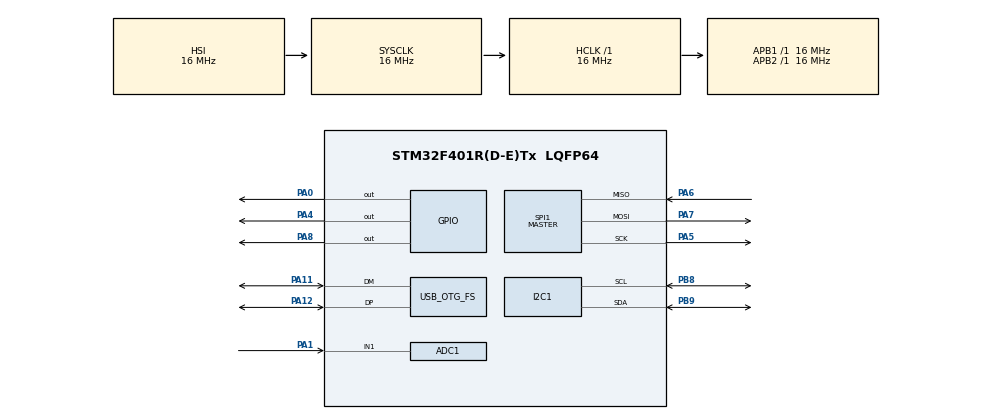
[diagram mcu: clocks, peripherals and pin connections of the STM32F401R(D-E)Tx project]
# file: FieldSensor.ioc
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ADC1.Channel-0\#ChannelRegularConversion=ADC_CHANNEL_1
ADC1.NbrOfConversionFlag=1
ADC1.Rank-0\#ChannelRegularConversion=1
ADC1.SamplingTime-0\#ChannelRegularConversion=ADC_SAMPLETIME_3CYCLES
ADC1.master=1
FATFS._FS_EXFAT=0
FATFS._MAX_SS=512
FATFS._USE_LFN=0
Mcu.Family=STM32F4
Mcu.Name=STM32F401R(D-E)Tx
Mcu.Package=LQFP64
NVIC.OTG_FS_IRQn=true\:0\:0\:false\:false\:true\:false\:true\:true
NVIC.PriorityGroup=NVIC_PRIORITYGROUP_4
PA0-WKUP.Signal=GPIO_Output
PA1.Signal=ADCx_IN1
PA11.Mode=Device_Only
PA11.Signal=USB_OTG_FS_DM
PA12.Mode=Device_Only
PA12.Signal=USB_OTG_FS_DP
PA13.Mode=Serial_Wire
PA13.Signal=SYS_JTMS-SWDIO
PA14.Mode=Serial_Wire
PA14.Signal=SYS_JTCK-SWCLK
PA4.Signal=GPIO_Output
PA5.Mode=Full_Duplex_Master
PA5.Signal=SPI1_SCK
PA6.Mode=Full_Duplex_Master
PA6.Signal=SPI1_MISO
PA7.Mode=Full_Duplex_Master
PA7.Signal=SPI1_MOSI
PA8.Signal=GPIO_Output
PB8.GPIO_Pu=GPIO_NOPULL
PB8.Mode=I2C
PB8.Signal=I2C1_SCL
PB9.Mode=I2C
PB9.Signal=I2C1_SDA
PC14-OSC32_IN.Mode=LSE-External-Oscillator
PC14-OSC32_IN.Signal=RCC_OSC32_IN
PC15-OSC32_OUT.Mode=LSE-External-Oscillator
PC15-OSC32_OUT.Signal=RCC_OSC32_OUT
ProjectManager.HeapSize=0x200
ProjectManager.StackSize=0x400
ProjectManager.TargetToolchain=STM32CubeIDE
RCC.48MHZClocksFreq_Value=48000000
RCC.AHBFreq_Value=16000000
RCC.APB1Freq_Value=16000000
RCC.APB1TimFreq_Value=16000000
RCC.APB2Freq_Value=16000000
RCC.APB2TimFreq_Value=16000000
RCC.CortexFreq_Value=16000000
RCC.HCLKFreq_Value=16000000
RCC.HSE_VALUE=25000000
RCC.HSI_VALUE=16000000
RCC.PLLSource=RCC_PLLSOURCE_HSI
RCC.RCC_RTC_Clock_Source=RCC_RTCCLKSOURCE_LSE
RCC.RCC_RTC_Clock_SourceVirtual=RCC_RTCCLKSOURCE_LSE
RCC.SYSCLKFreq_VALUE=16000000
RCC.VCOOutputFreq_Value=192000000
SH.ADCx_IN1.0=ADC1_IN1,IN1
SPI1.Direction=SPI_DIRECTION_2LINES
SPI1.Mode=SPI_MODE_MASTER
SPI1.VirtualType=VM_MASTER
USB_DEVICE.CLASS_NAME_FS=MSC
USB_DEVICE.VirtualMode-MSC_FS=Msc
USB_DEVICE.VirtualModeFS=Msc_FS
USB_OTG_FS.VirtualMode=Device_Only
VP_FATFS_VS_Generic.Mode=User_defined
VP_RTC_VS_RTC_Activate.Mode=RTC_Enabled
VP_RTC_VS_RTC_Calendar.Mode=RTC_Calendar
VP_USB_DEVICE_VS_USB_DEVICE_MSC_FS.Mode=MSC_FS
board=custom

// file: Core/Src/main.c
/* USER CODE BEGIN Header */
/**
  ******************************************************************************
  * @file           : main.c
  * @brief          : Main program body
  ******************************************************************************
  * @attention
  *
  * Copyright (c) 2026 STMicroelectronics.
  * All rights reserved.
  *
  * This software is licensed under terms that can be found in the LICENSE file
  * in the root directory of this software component.
  * If no LICENSE file comes with this software, it is provided AS-IS.
  *
  ******************************************************************************
  */
/* USER CODE END Header */
#include "main.h"
#include "adc.h"
#include "fatfs.h"
#include "i2c.h"
#include "rtc.h"
#include "spi.h"
#include "usb_device.h"
#include "gpio.h"

/* USER CODE BEGIN Includes */
#include <math.h>
#include "aht20.h"
#include "spiflash.h"
#include "storage_policy.h"
#include "log_ring.h"
#include "vfat.h"
#include "time_service.h"
#include "soil_sensor.h"
#include "soil_curve.h"
#include "battery.h"
#include "ds18b20.h"
#include "power_policy.h"
#include "sensor_policy.h"
#include "bmp280.h"
#include "usbd_core.h"
#include "usbd_def.h"
#include <stdio.h>
#include <string.h>
/* USER CODE END Includes */

/* USER CODE BEGIN PTD */
extern USBD_HandleTypeDef hUsbDeviceFS;
/* USER CODE END PTD */

/* USER CODE BEGIN PD */

/* Время на стабилизацию питания датчиков (AHT20/DS18B20/почва) после включения PA0. */
#define SENSOR_POWERUP_DELAY_MS   500U

/* Восстановление шины I2C (B6), колонка i2c_rec: 0 — шина свободна, 1 —
 * освобождена тактами SCL, 2 — понадобилось снять питание датчиков, 3 —
 * не освободилась и после этого. Пауза без питания — разрядить ёмкость
 * модуля, чтобы его логика действительно сбросилась. */
#define I2C_REC_POWER        2U
#define I2C_REC_DEAD         3U
#define I2C_POWER_CYCLE_MS   200U

/* Карантин питания датчиков: сколько часов не подавать питание после трёх
 * отказов подряд (Policy_QuarantineUpdate). В циклах — по текущему
 * интервалу, но не меньше одного. Колонка sens_off: 0 — датчики запитаны,
 * N > 0 — карантин, осталось N циклов; коды датчиков в такой строке — «не
 * опрашивались»: aht_*_st = 1 (HAL_ERROR), ds_err = DS_ERR_NOT_POLLED. */
#define SENSOR_QUARANTINE_HOURS   6U
#define SENSOR_QUARANTINE_CYCLES  ((SENSOR_QUARANTINE_HOURS * 3600U / RTC_WAKEUP_INTERVAL_SEC) ? \
                                   (SENSOR_QUARANTINE_HOURS * 3600U / RTC_WAKEUP_INTERVAL_SEC) : 1U)
#define DS_ERR_NOT_POLLED         8U

/* Пока кнопка удерживается, МК не уходит в STOP — так USB-сессия не рвётся на время сна.
 * BTN_HOLD_MAX_MS — страховка на случай залипшей/залитой кнопки в поле: по истечении
 * этого времени засыпаем принудительно и больше не ждём кнопку, пока её не отпустят
 * (счёт идёт через все циклы, см. Policy_ButtonKeepsAwake). */
#define BTN_HOLD_POLL_MS   100U
#define BTN_HOLD_MAX_MS    300000U   /* 5 минут */

/* USB_ENUM_MAX_MS, USB_SESSION_IDLE_MAX_MS и USB_SESSION_MAX_SKIPS — в
 * power_policy.h, рядом с правилом, которое их применяет, и под хостовыми
 * тестами: иначе смена величины потолка тестами не замечается. */

/* Шаг пинка сторожа во сне (A4): меньше худшего периода IWDG (~22 с при LSI
 * 47 кГц) с запасом. 3600 и 60 делятся на 15 нацело. Цена — пробуждение на
 * ~0.1–0.3 мс раз в 15 с, доли микроампера среднего (расчёт — в отчёте П4). */
#define WDG_KICK_SEC       15U

/* Замеры, записанные во время USB-сессии (A3): флеш в это время отдаётся
 * хосту, и журнал её не трогает — записи ждут в RAM конца сессии. Сессия
 * может длиться сутки: 48 записей — двое суток часовых замеров, 3 КБ RAM
 * (буфер work[4096] прежнего FatFs-пути освобождён). */
#define LOG_PENDING_MAX   48U

/* Набор колонок CSV — LOG_CSV_HEADER в log_record.h, строка — его же
 * LogRecord_FormatCsv: архив теперь — двоичный журнал (log_ring.h), а CSV
 * из него собирается при чтении.
 * Сначала то, ради чего прибор существует, затем состояние питания, затем
 * признаки достоверности, диагностика и в конце сырые отсчёты. Отладочные
 * колонки времени цикла и внутренних кодов AHT20 сняты: они своё отработали.
 * Оставшиеся нужны и в поле: по ним видно, ПОЧЕМУ значение отсутствует или
 * чему не верить, вместо того чтобы гадать над пустой ячейкой.
 *   vdd           — реальное VDD по VREFINT, В (известно и при банке вне шкалы);
 *   soil_valid    — 0, если банка просела ниже дропаута LDO и опора АЦП уплыла;
 *   lse_ok        — 0, если часовой кварц не завёлся и RTC идёт от LSI (A5);
 *   time_ok       — 0, если календарь терялся и часы откатились на время
 *                   сборки (A6): меткам таких строк верить нельзя;
 *   aht_*, ds_err — почему не прочитались воздух и почва (ds_err 8 — датчики
 *                   не опрашивались: карантин питания);
 *   air_xchk      — сверка AHT20 с BMP280: 0 сошлись, 1 разошлись > 2 °C,
 *                   2 BMP280 не ответил, 3 сверять нечего (sensor_policy.h);
 *   i2c_rec       — шину I2C пришлось освобождать (B6): 1 тактами, 2 снятием
 *                   питания, 3 не освободилась;
 *   sens_off      — карантин питания датчиков: сколько циклов ещё без питания;
 *   write_fails   — сколько раз за всю жизнь запись строки не удалась:
 *                   отказ флеш или переполнение очереди. При отказе флеш
 *                   строка ждёт в очереди следующего цикла (T6) и обычно
 *                   потом ложится — счётчик считает попытки, а не потери;
 *                   пропадает она при переполнении очереди и при отказе с
 *                   непрочитанной сверкой (повтор дал бы дубль). Заполнения архива больше нет: журнал
 *                   кольцевой, и старейшие записи уходят сами (G1);
 *   lowpower_skips — сколько строк пропущено из-за низкого питания (П1, C3);
 *   reset_cause   — почему стартовали: биты флагов сброса и код сбоя
 *                   (Policy_ResetCause);
 *   boot_count    — стартов с последней подачи питания: рост без замены
 *                   банки — тихие перезагрузки;
 *   soil_raw, bat_raw — отсчёты АЦП почвы и делителя банки (0..4095): по ним
 *                   и vdd значения можно пересчитать заново, если уплывёт
 *                   калибровка. */
#define CSV_HEADER LOG_CSV_HEADER

/* Опора и канал АЦП — как в soil_sensor.c и battery.c: оттуда отсчёты наружу
 * не отдаются, а модули не наши. Почва — тот же отсчёт, обращённый из
 * напряжения; банка — отдельная выборка того же канала сразу после замера. */
#define SOIL_ADC_VREF       3.3f
#define BAT_RAW_CHANNEL     ADC_CHANNEL_2
#define BAT_RAW_SAMPLETIME  ADC_SAMPLETIME_84CYCLES

/* USER CODE END PD */

/* USER CODE BEGIN PV */
static uint8_t lse_ok = 0;   /* запустился ли LSE-кварц (иначе метки времени врут) */
static uint8_t time_ok = 0;  /* можно ли верить часам (A6, Policy_TimeTrusted) */
static volatile uint8_t woke_by_button = 0;  /* выставляется в EXTI-колбэке кнопки */
/* Открыт ли журнал. Имя прежнее (было «смонтирована ФС»): его знает дампер. */
static uint8_t fs_ok = 0;
static uint32_t write_fails = 0;  /* накопленное число неудачных записей строки */
static Policy_Button btn_policy;  /* удержание KEY через все циклы сна (A1) */
static uint16_t reset_cause = 0;  /* почему стартовали — Policy_ResetCause */
static uint32_t boot_count  = 0;  /* стартов с последней подачи питания */
static uint8_t  i2c_rec     = 0;  /* как освобождали шину в этом цикле (B6) */
static Policy_Quarantine sens_quarantine;  /* карантин питания датчиков */
static Policy_Usb    usb_policy;  /* VBUS без хоста через все циклы сна (A9) */
/* Расписание замеров: время с прошлого ЗАМЕРА, через все циклы сна и
 * бодрствования. Жить оно обязано здесь, а не в функции сна: остаток,
 * заведённый локально, выбрасывался при каждом досрочном пробуждении, и
 * следующий сон начинался с полного интервала (см. Policy_Schedule).
 * meas_sched_tick — отметка HAL_GetTick, по которой в расписание идёт время
 * БОДРСТВОВАНИЯ (сон тик не двигает, отспанное зачитывается куском). Она
 * тоже статическая: между выходом из сна и следующим входом лежит сам замер,
 * и это время такое же настоящее, как остальное. */
static Policy_Schedule meas_sched;
static uint32_t        meas_sched_tick = 0;
static volatile uint8_t woke_by_vbus = 0;    /* фронт VBUS: вставили кабель */
static LogRing      log_ring;      /* журнал замеров на флеш (log_ring.h) */
static LogOldVolume log_old;       /* разбор старого тома для импорта — только при старте */
static LogRecord    log_pending[LOG_PENDING_MAX];   /* очередь USB-сессии (A3) */
static uint8_t      log_pending_n = 0;
extern VFat         usb_vfat;      /* том для хоста (usbd_storage_if.c, vfat.h) */
/* Секторы, отданные хосту (usbd_storage_if.c): по ним Policy_UsbKeepsAwake
 * отличает живую сессию от брошенной пропавшим хостом. */
extern volatile uint32_t usb_host_blocks;
/* USER CODE END PV */

void SystemClock_Config(void);

/* USER CODE BEGIN 0 */

/* Замер состоялся — расписание с нуля, и отметка тика вместе с ним: иначе
 * время самого замера (пауза на выход датчиков, конверсия DS18B20,
 * восстановление шины — секунды) не попало бы в интервал ни куском, ни
 * тиком, и расстояние между строками медленно уползало бы. */
static void Schedule_Restart(void)
{
  Policy_ScheduleMeasured(&meas_sched);
  meas_sched_tick = HAL_GetTick();
}

/* Один цикл сна: погасить периферию, уйти в STOP и подняться обратно.
 * Вынесено из main() отдельной функцией, чтобы первый замер после включения
 * можно было сделать не засыпая, не дублируя при этом весь блок. */
/* Сторожевой таймер (A4). Раньше IWDG запускался только из Error_Handler, а
 * HardFault и любое зависание в активной фазе крутились вечно на полной
 * частоте: прибор стоял на ~10 мА до приезда владельца. Теперь сторож
 * запущен с первой строки main() и кормится в основном цикле, в цикле
 * удержания и в коротких пробуждениях из сна (см. Policy_SleepChunkSec).
 * Период — наибольший: делитель 256, перезагрузка 0xFFF, ~32 с при LSI
 * 32 кГц и ~22 с при 47 кГц (верх допуска); пинок раз в WDG_KICK_SEC.
 * Регистры напрямую: модуль IWDG в HAL этой сборки не включён. Запущенный
 * сторож остановить нельзя — поэтому он замораживается на время остановки
 * ядра отладчиком, иначе каждая точка останова кончалась бы сбросом. */
static void Watchdog_Start(void)
{
  __HAL_DBGMCU_FREEZE_IWDG();

  IWDG->KR  = 0x0000CCCCU;   /* пуск */
  IWDG->KR  = 0x00005555U;   /* разрешить запись PR/RLR */
  IWDG->PR  = 0x06U;         /* делитель 256 */
  IWDG->RLR = 0x0FFFU;       /* максимальная перезагрузка */
  for (volatile uint32_t i = 0U; i < 100000U && (IWDG->SR != 0U); i++)
  {
  }
  IWDG->KR  = 0x0000AAAAU;
}

static void Watchdog_Kick(void)
{
  IWDG->KR = 0x0000AAAAU;
}

/* Журнал работает с флеш через драйвер, а в долгих местах (сканирование
 * при старте, стирание сектора — у SST26 до 25 мс, импорт старого тома)
 * пинает сторожа сам. Защиту блоков он снимает перед каждой записью (T2). */
static const LogFlashOps log_ops = {
  SPI_Flash_Read, SPI_Flash_Write, SPI_Flash_EraseSector, Watchdog_Kick, SPI_Flash_Unlock
};

/* Открыть журнал: найти голову и хвост, а на первом старте после старой
 * прошивки — перенести старый архив (импорт пишет, поэтому только при
 * may_write). Сорванное чтение — до трёх попыток с повторной инициализацией
 * флеш: одно искажённое чтение после просадки не должно решать судьбу
 * архива. Инициализация (выход из DPD, снятие защиты) — перед каждой
 * попыткой, включая первую: из цикла сюда попадают только после отказа, а
 * флеш могла пережить свой сброс по питанию и стоять запертой (T2).
 * Возвращает 1, если журнал открыт. */
static uint8_t Archive_Open(uint8_t may_write)
{
  uint8_t r = LOG_OPEN_EIO;
  for (uint8_t attempt = 0; attempt < 3U && r == LOG_OPEN_EIO; attempt++)
  {
      SPI_Flash_Init();
      r = LogArchive_Open(&log_ring, &log_ops, LOG_FLASH_SECTORS, may_write, &log_old);
      Watchdog_Kick();
  }
  return (r == LOG_OPEN_OK) ? 1U : 0U;
}

/* Метка последнего замера в архиве — для Policy_TimeTrusted (A6). Сразу
 * после импорта замеров в журнале ещё нет: тогда метка берётся из хвоста
 * перенесённого текста, как раньше из хвоста data.txt. Возвращает 1, если
 * архив прочитан (метки может и не быть), 0 — сбой чтения. */
static uint8_t Archive_LastTimestamp(char *out)
{
  LogRecord rec;
  uint32_t  idx;
  out[0] = '\0';
  uint8_t st = LogRing_Newest(&log_ring, &rec, &idx);
  if (st != LOG_READ_OK)
      return (st == LOG_READ_NONE) ? 1U : 0U;   /* сбой чтения — архив не прочитан */
  if (LogRecord_Type(&rec) == LOG_TYPE_IMPORT_END &&
      (idx == 0U || LogRing_Read(&log_ring, --idx, &rec) != LOG_READ_OK))
      return 1;
  if (LogRecord_Type(&rec) == LOG_TYPE_MEAS)
  {
      LogMeas m;
      LogRecord_UnpackMeas(&rec, &m);
      if (Storage_IsTimestamp(m.ts))
      {
          memcpy(out, m.ts, STORAGE_TS_LEN);
          out[STORAGE_TS_LEN] = '\0';
      }
      return 1;
  }
  /* Хвост текста: до четырёх последних записей TEXT (~200 байт) — хватает
   * на последнюю строку целиком. */
  char     tail[4U * LOG_TEXT_MAX];
  uint32_t n = 0;
  uint8_t  from_start = 0;
  for (uint32_t k = 0; k < 4U; k++)
  {
      const uint8_t *t;
      uint32_t len = LogRecord_Text(&rec, &t, NULL);
      if (len == 0U)
      {
          from_start = (LogRecord_Type(&rec) == LOG_TYPE_IMPORT_FILE);
          break;
      }
      memmove(tail + len, tail, n);
      memcpy(tail, t, len);
      n += len;
      if (idx == 0U || LogRing_Read(&log_ring, --idx, &rec) != LOG_READ_OK)
          break;
  }
  (void)Storage_LastTimestamp(tail, n, from_start, out);
  return 1;
}

/* Дописать запись в журнал. Отказ — write_fails и переоткрытие журнала в
 * следующем цикле: состояние в RAM могло разойтись с флеш. */
static uint8_t Archive_Append(LogRecord *rec)
{
  if (fs_ok && LogRing_Append(&log_ring, rec))
      return 1;
  write_fails++;
  fs_ok = 0;
  return 0;
}

/* USB поднимается только из цикла удержания, когда VBUS уже есть, и только
 * после записи цикла (A3). Раньше стек стартовал при каждом пробуждении ДО
 * замера и при старте ДО монтирования: хост, вставленный в этот момент,
 * получал «не готов» посреди записи, а длинное чтение — HARDWARE ERROR.
 * Теперь хост видит том, когда запись цикла уже закончена. */
static uint8_t usb_started = 0;

/* 48 МГц для OTG FS. USB FS требует точности ±0.25 %, а HSI даёт ±1 % при
 * 25 °C и хуже по температуре: в теплице от 5 до 40 °C перечисление и
 * копирование архива срывались бы (A10). На BlackPill есть кварц 25 МГц —
 * PLL на время USB-сессии берём от него: 25 / 25 × 192 / 4 = 48 МГц.
 * Ядро и шины остаются на HSI: PLL нужен только USB, и замерное окно его
 * не ждёт. Выход P (не используется) — тоже 48 МГц, в пределах 84 МГц.
 * HSE не завёлся — откат на HSI, как было раньше: хуже, но не мёртвый USB. */
static void Clock_UsbOn(void)
{
  RCC_OscInitTypeDef osc = {0};

  osc.OscillatorType = RCC_OSCILLATORTYPE_HSE;
  osc.HSEState = RCC_HSE_ON;
  osc.PLL.PLLState = RCC_PLL_ON;
  osc.PLL.PLLSource = RCC_PLLSOURCE_HSE;
  osc.PLL.PLLM = 25;
  osc.PLL.PLLN = 192;
  osc.PLL.PLLP = RCC_PLLP_DIV4;
  osc.PLL.PLLQ = 4;
  if (HAL_RCC_OscConfig(&osc) == HAL_OK)
      return;

  osc.HSEState = RCC_HSE_OFF;
  osc.PLL.PLLSource = RCC_PLLSOURCE_HSI;
  osc.PLL.PLLM = 16;
  (void)HAL_RCC_OscConfig(&osc);
}

/* STOP и так останавливает PLL и HSE, но цикл удержания может закончиться
 * и без сна — гасим явно, чтобы не держать их зря. */
static void Clock_UsbOff(void)
{
  RCC_OscInitTypeDef osc = {0};

  /* Сначала PLL, потом его источник: HAL в одном вызове гасит HSE раньше
   * PLL, и тот на миг остался бы без опоры. */
  osc.OscillatorType = RCC_OSCILLATORTYPE_NONE;
  osc.PLL.PLLState = RCC_PLL_OFF;
  (void)HAL_RCC_OscConfig(&osc);

  osc.OscillatorType = RCC_OSCILLATORTYPE_HSE;
  osc.HSEState = RCC_HSE_OFF;
  osc.PLL.PLLState = RCC_PLL_NONE;
  (void)HAL_RCC_OscConfig(&osc);
}

static void Usb_Start(void)
{
  /* Том для хоста собирается из журнала до подъёма стека (П5б): хост
   * увидит диск, только когда размеры файлов и индекс готовы, и до конца
   * сессии они верны — журнал в это время не пишется (A3). Проход журнала
   * — до ~20 с на полном журнале (32 тыс. записей; расчёт — в отчёте П5б),
   * сторож пинается изнутри. Журнал не открыт (сбой при старте, импорт
   * ждёт питания) — пробуем открыть только чтением: том без data.txt с
   * причиной в info.txt лучше, чем без попытки. Пишет журнал по-прежнему
   * только цикл замера. */
  if (!fs_ok)
      fs_ok = Archive_Open(0);
  (void)VFat_Build(&usb_vfat, fs_ok ? &log_ring : NULL, "build " __DATE__ " " __TIME__);
  Watchdog_Kick();

  Clock_UsbOn();
  MX_USB_DEVICE_Init();
  usb_started = 1;
}

static void Usb_Stop(void)
{
  USBD_Stop(&hUsbDeviceFS);

  /* Погасить встроенный трансивер вручную: HAL_PCD_DeInit этого не делает,
   * бит PWRDWN остаётся взведённым, и аналоговая часть USB продолжает питаться
   * весь сон. Сделать это надо ДО деинициализации — она отключает тактирование
   * периферии, после чего регистр станет недоступен для записи. */
  USB_OTG_FS->GCCFG &= ~USB_OTG_GCCFG_PWRDWN;

  USBD_DeInit(&hUsbDeviceFS);
  Clock_UsbOff();
  usb_started = 0;
}

/* Возвращает 1, если плата уснула и проснулась, и 0, если сна не было:
 * плата держится на шине, а подошло время очередного замера (C8). Во втором
 * случае USB остаётся поднятым, флеш и шины — как были. */
static uint8_t SleepUntilNextSample(void)
{
  /* --- Не уходим в сон, пока удерживают кнопку или хост держит USB ---
   * Уход в STOP рвёт USB-сессию и портит файл на стороне хоста, поэтому оба
   * признака означают одно: устройство обязано остаться на шине. Кнопка —
   * ручной способ, USB — то же самое автоматически, без нажатий.
   * Датчики к этому моменту уже обесточены, лишнего тока не тратим.
   * Правила — в power_policy.c: потолок кнопки считается через все циклы
   * (btn_policy живёт вне этой функции), иначе залипшая KEY держала бы
   * плату по 5 минут каждый час; VBUS без хоста держит не дольше
   * USB_ENUM_MAX_MS — иначе USB-зарядка или влага на делителе не давали бы
   * спать вовсе; перечисленная сессия — не дольше USB_SESSION_IDLE_MAX_MS
   * молчания, иначе пропавший хост держал бы плату вечно (usb_policy тоже
   * живёт вне этой функции: цикл перезапускается каждый час, когда подошёл
   * замер, и счёт молчания не должен начинаться заново). Отсюда в правило
   * уходят только сырые признаки — уровни, состояние стека и счётчик
   * отданных секторов; решения не принимаются здесь ни одного. */
  uint32_t t_prev  = HAL_GetTick();
  uint8_t  vbus_edge = woke_by_vbus;
  woke_by_vbus = 0;
  while (1)
  {
      uint8_t btn_held    = (HAL_GPIO_ReadPin(WAKE_BTN_GPIO_Port, WAKE_BTN_Pin) == GPIO_PIN_RESET);
      uint8_t usb_present = (HAL_GPIO_ReadPin(VBUS_GPIO_Port, VBUS_Pin) == GPIO_PIN_SET);
      uint8_t usb_config  = usb_started && (hUsbDeviceFS.dev_state == USBD_STATE_CONFIGURED);

      uint32_t now = HAL_GetTick();
      uint8_t btn_awake = Policy_ButtonKeepsAwake(&btn_policy, btn_held, now - t_prev, BTN_HOLD_MAX_MS);
      uint8_t usb_awake = Policy_UsbKeepsAwake(&usb_policy, usb_present, usb_started,
                                               usb_config, vbus_edge, usb_host_blocks,
                                               now - t_prev,
                                               USB_ENUM_MAX_MS, USB_SESSION_IDLE_MAX_MS);
      t_prev = now;
      /* Бодрствование — такое же время с прошлого замера, как и сон: сессия
       * хоста, затянувшаяся на интервал, обязана кончиться замером. Отметка
       * своя, отдельно от t_prev: тот сбрасывается сборкой тома (её не
       * считают в ожидание перечисления хостом), а из времени с прошлого
       * замера настоящее время не выкинешь. Разность беззнаковая — переворот
       * тика через 49.7 суток даёт верное приращение сам собой. */
      Policy_ScheduleElapsed(&meas_sched, now - meas_sched_tick);
      meas_sched_tick = now;
      vbus_edge = woke_by_vbus;   /* фронт за время ожидания — новый шанс хосту */
      woke_by_vbus = 0;

      Watchdog_Kick();   /* сессия с хостом может длиться сутки */

      if (!btn_awake && !usb_awake)
          break;

      /* Поднимаем стек, только пока у хоста есть шанс: VBUS, признанный
       * зарядкой, USB не поднимает (Policy_UsbKeepsAwake вернул 0). */
      if (usb_awake && !usb_started)
      {
          Usb_Start();
          /* Сборка тома не в счёт ожидания перечисления (USB_ENUM_MAX_MS):
           * хост и не видел устройства, пока она шла. */
          t_prev = HAL_GetTick();
      }

      if (Policy_MeasureDue(meas_sched.elapsed_ms, RTC_WAKEUP_INTERVAL_SEC * 1000UL))
      {
          /* Замер важнее сессии (Р1). Пропустить его вокруг сессии можно, но
           * считаное число раз: пропуск не кладёт строку ни на флеш, ни в
           * очередь, и хост, трогающий том чаще потолка бездействия, иначе
           * повторил бы исходный симптом «часы идут, архива нет». Исчерпав
           * право на пропуск, сессия гаснет здесь же, и замер уходит на флеш
           * сразу — не через интервал. Правило и счёт — в
           * Policy_SessionYieldsToMeasure.
           * Признак сессии здесь — usb_started, ровно тот же, по которому
           * ниже запись уходит в очередь в ОЗУ вместо флеш, и НЕ usb_config:
           * в SUSPENDED стек поднят, а CONFIGURED снят, и по usb_config
           * уступка не срабатывала бы никогда (см. power_policy.h). */
          if (Policy_SessionYieldsToMeasure(&usb_policy, usb_started, USB_SESSION_MAX_SKIPS))
              Usb_Stop();
          return 0;
      }

      /* Ждём во сне ядра (WFI), а не в занятом цикле HAL_Delay: SysTick будит
       * каждую миллисекунду, а между тиками ядро не жжёт ток впустую. */
      while (HAL_GetTick() - now < BTN_HOLD_POLL_MS)
          __WFI();
  }

  /* Гасим USB-стек, если он поднимался, — ПЕРВЫМ делом, до усыпления флеш.
   * Досюда мы доходим, когда у хоста больше нет права держать плату: он не
   * перечислился или исчерпал потолок молчания (USB_SESSION_IDLE_MAX_MS). В
   * последнем случае CONFIGURED может быть ещё взведено, и гасим мы живое с
   * виду состояние — иначе выход из цикла удержания закрыт навсегда. Полный
   * DeInit здесь обязателен именно поэтому: он снимает usb_started и
   * сбрасывает dev_state, так что следующий подъём стека начинается с чистого
   * состояния. Порядок важен: пока стек жив, хост вправе прислать READ10, а
   * усыплённая флеш отвечает на него USBD_FAIL, то есть хост получает STALL и
   * ошибку ввода-вывода вместо чистого отключения. Сначала уходим с шины,
   * потом гасим носитель. Аналоговая часть трансивера OTG FS питается от VDD
   * и продолжает потреблять в STOP, даже когда тактирование снято. */
  if (usb_started)
      Usb_Stop();

  /* Флеш — на постоянном питании, гасить её нечем, кроме Deep Power-Down.
   * Делаем это только сейчас: пока шла USB-сессия, хост мог читать диск,
   * и усыплять флеш было нельзя. */
  SPI_Flash_DeepPowerDown();

  /* Гасим периферию шин. Порядок важен: SPI деинициализируем строго ПОСЛЕ
   * команды Deep Power-Down выше — иначе её нечем было бы отправить. */
  HAL_SPI_DeInit(&hspi1);
  HAL_I2C_DeInit(&hi2c1);

  /* Парковка выводов — строго ПОСЛЕ всех деинициализаций. Каждая из них внутри
   * себя дёргает HAL_GPIO_DeInit и возвращает свои выводы в плавающий вход,
   * так что любая парковка, сделанная раньше, была бы просто затёрта. */
  MX_GPIO_SleepPrepare();

  /* Отключаем трассировочный блок ядра. С поднятым TRCENA отладочная логика
   * остаётся под питанием и во сне — это сотни микроампер на ровном месте.
   * DWT нужен только для микросекундных задержек 1-Wire в активной фазе. */
  DWT->CTRL &= ~DWT_CTRL_CYCCNTENA_Msk;
  CoreDebug->DEMCR &= ~CoreDebug_DEMCR_TRCENA_Msk;

  woke_by_button = 0;   /* сбрасываем перед сном: интересен источник ЭТОГО пробуждения */
  woke_by_vbus   = 0;
  (void)RTC_TakeWakeup();

  /* Залипшую кнопку на время сна отключаем от подтяжки и EXTI (A1): через
   * замкнутый контакт иначе тёк бы ток весь час, а её «нажатие» больше
   * ничего не значит. Будит только RTC; отпущена ли она — проверим после. */
  uint8_t btn_parked = btn_policy.stuck;
  if (btn_parked)
      MX_GPIO_ButtonPark();

  /* Отладочный блок не должен переживать STOP. Программатор при подключении
   * выставляет DBG_STOP, чтобы можно было ставить точки останова в спящем МК,
   * и этот бит держит отладочную логику и тактирование живыми весь сон —
   * сотни микроампер. Сам по себе он сбрасывается только по сбросу питания,
   * поэтому после отладки прибор может месяцами жить с включённой отладкой
   * и никто не заметит. Гасим явно на каждом цикле. */
  HAL_DBGMCU_DisableDBGStopMode();

  /* Обесточить внутреннюю флеш-память на время STOP. Иначе её стабилизатор
   * остаётся под нагрузкой всю ночь ради содержимого, которое всё равно не
   * читается: ядро стоит. Платим за это лишними микросекундами на пробуждение —
   * флеш надо снова поднять, — что на фоне часового интервала незаметно. */
  HAL_PWREx_EnableFlashPowerDown();

  /* И LP-регулятор — в режим пониженного напряжения (LPLVDS, есть у F401):
   * в STOP ядро стоит, и полного напряжения ядру не нужно; утечки домена
   * 1.2 В падают. Режим допустим только вместе с FPDS выше. Цена — лишние
   * десятки микросекунд на пробуждение, то есть доли микроампера среднего
   * даже при пинках сторожа раз в 15 с. Выигрыш на этой плате не замерен —
   * шаг для владельца в отчёте П4 (A12). */
  HAL_PWREx_EnableLowRegulatorLowVoltage();

  /* --- уход в сон: STOP mode, будит RTC Wakeup Timer, кнопка или VBUS ---
   * Спим не интервал, а ОСТАТОК интервала до следующего замера
   * (Policy_ScheduleSleepSec): досрочное пробуждение не должно сдвигать
   * замер, иначе каждый фронт VBUS молча стоит полного часа наблюдений.
   * Остаток режется на куски по WDG_KICK_SEC (A4): сторож в STOP не замирает
   * и часа не переживёт. Между кусками — короткое пробуждение на HSI: пинок
   * сторожу и сразу обратно, без замера и без периферии.
   *
   * armed остаётся ЛОКАЛЬНЫМ, в отличие от остатка: перед выходом из сна
   * таймер деактивируется, так что первый кусок каждого сна обязан взвести
   * его заново. Статический armed решил бы, что таймер уже взведён на такой
   * же кусок, и плата ушла бы в STOP без будильника — до сторожа. */
  uint32_t left  = Policy_ScheduleSleepSec(&meas_sched, RTC_WAKEUP_INTERVAL_SEC * 1000UL);
  uint32_t armed = 0;
  while (left > 0U)
  {
      uint32_t chunk = Policy_SleepChunkSec(left, WDG_KICK_SEC);
      if (chunk != armed)
      {
          /* Перевзвод ждёт флага RTC с таймаутом по тику — тик на это время
           * возвращаем, иначе таймаут не сработал бы никогда (см. ниже).
           * Счётчик CK_SPRE даёт (WUT + 1) с, отсюда «- 1». */
          HAL_ResumeTick();
          (void)HAL_RTCEx_DeactivateWakeUpTimer(&hrtc);
          if (HAL_RTCEx_SetWakeUpTimer_IT(&hrtc, chunk - 1U, RTC_WAKEUPCLOCK_CK_SPRE_16BITS) != HAL_OK)
          {
              /* Таймер не взвёлся — RTC не тактируется: кварц встал после
               * старта (S1). Ловится это здесь не всегда: флаг WUTWF от
               * прошлого взвода может остаться поднятым, и HAL вернёт HAL_OK
               * без такта RTC. Тогда плату через ~22–32 с сбросит сторож, а
               * главная защита — проверка SSR при старте (rtc.c). Если же
               * отказ виден — спать вслепую незачем. Откатываться на LSI прямо здесь
               * тоже нельзя: сброс backup-домена унёс бы календарь, а
               * time_ok в памяти осталась бы 1. Перезапуск с кодом в DR1:
               * старт проверит, идёт ли RTC, перейдёт на LSI (lse_ok = 0),
               * а time_service увидит потерю часов. */
              RTC->BKP1R = POLICY_FAULT_MAGIC | POLICY_FAULT_ERROR;
              NVIC_SystemReset();
          }
          armed = chunk;
      }

      Watchdog_Kick();
      HAL_SuspendTick();
      HAL_PWR_EnterSTOPMode(PWR_LOWPOWERREGULATOR_ON, PWR_STOPENTRY_WFI);

      /* Кнопка и VBUS — это человек: просыпаемся на замер сразу. Начатый
       * кусок при этом в расписание не идёт (ниже его зачитывает только
       * отработавший таймер): измерить его нечем — тик во сне остановлен, а
       * RTC здесь не опрашивается. Замер уезжает на долю недоспанного куска,
       * то есть не больше чем на WDG_KICK_SEC, и только на то пробуждение,
       * которое кончилось без замера. */
      if (woke_by_button || woke_by_vbus)
          break;

      /* Не таймер и не человек — случайное прерывание; кусок не отработан,
       * спим дальше, таймер продолжает считать с того же места. */
      if (!RTC_TakeWakeup())
          continue;
      left -= chunk;
      /* Кусок отработан — зачесть его в расписание СРАЗУ, а не по выходу из
       * цикла: досрочный выход ниже иначе выбросил бы всё отспанное, и
       * следующий сон начался бы с полного интервала. В этом и был дефект. */
      Policy_ScheduleElapsed(&meas_sched, chunk * 1000U);

      /* Залипшую кнопку могли отпустить. Проверка — доли микросекунды на
       * подтяжке; отпустили — оставляем EXTI включённым до конца сна. */
      if (btn_parked && left > 0U)
      {
          MX_GPIO_ButtonRestore();
          MX_GPIO_ButtonSettle();
          if (HAL_GPIO_ReadPin(WAKE_BTN_GPIO_Port, WAKE_BTN_Pin) == GPIO_PIN_SET)
          {
              (void)Policy_ButtonKeepsAwake(&btn_policy, 0, 0, BTN_HOLD_MAX_MS);
              btn_parked = 0;
          }
          else
          {
              MX_GPIO_ButtonPark();
          }
      }
  }
  Watchdog_Kick();

  /* --- пробуждение: ядро на HSI без PLL. Шины и задержки работают от того
   * же HSI 16 МГц, что и до сна (делители и латентность флеш STOP сохраняет),
   * так что SystemClock_Config здесь больше не нужна: PLL нужен только USB,
   * и его поднимает Usb_Start. Раньше она же на каждом пробуждении заново
   * запускала LSE, и один отказ кварца уводил в Error_Handler (A5). --- */
  /* Тик поднимаем ДО настройки тактирования, а не после. Все ожидания внутри
   * HAL_RCC_OscConfig/ClockConfig отмеряют свой таймаут по HAL_GetTick(), а он
   * растёт только в прерывании SysTick — том самом, которое HAL_SuspendTick()
   * выключил перед сном. Пока тик стоит, разность (HAL_GetTick() - tickstart)
   * всегда ноль, условие выхода по таймауту не выполняется НИКОГДА, и отказ
   * запуска генератора превращался бы не в HAL_TIMEOUT, а в вечный горячий
   * цикл прямо внутри драйвера. То же относится к Usb_Start, который
   * поднимает HSE и PLL. Частота та же, что была до сна (HSI 16 МГц), поэтому
   * перенастраивать SysTick не нужно: достаточно вернуть его прерывание. */
  HAL_ResumeTick();

  /* Таймер куска на время бодрствования не нужен: его прерывание с высшим
   * приоритетом каждые WDG_KICK_SEC вклинивалось бы в тайминги 1-Wire.
   * Сторожа в активной фазе кормит основной цикл. */
  HAL_RTCEx_DeactivateWakeUpTimer(&hrtc);

  /* В аналоге PA0 читается нулём, то есть «зажата», — вернуть подтяжку до
   * того, как цикл удержания спросит кнопку, иначе залипание не кончилось
   * бы никогда. */
  if (btn_parked)
  {
      MX_GPIO_ButtonRestore();
      MX_GPIO_ButtonSettle();
  }

  /* Возвращаем выводы 1-Wire из аналога и поднимаем SPI — обязательно до
   * любого обращения к флеш, иначе команду пробуждения будет некому послать. */
  MX_GPIO_SleepRestore();
  MX_SPI1_Init();

  /* Будим флеш до любого обращения к ней (в DPD она игнорирует все команды, кроме 0xAB). */
  SPI_Flash_ReleasePowerDown();

  /* Возвращаем трассировочный блок: без него не работают задержки 1-Wire. */
  CoreDebug->DEMCR |= CoreDebug_DEMCR_TRCENA_Msk;
  DWT->CYCCNT = 0;
  DWT->CTRL |= DWT_CTRL_CYCCNTENA_Msk;

  /* USB здесь не поднимаем: его стартует цикл удержания после записи, если
   * есть VBUS (A3). Кабель, вставленный во время замера, просто подождёт
   * до конца записи — EXTI по VBUS к тому времени уже разбудил плату. */
  return 1;
}

/* USER CODE END 0 */

int main(void)
{

  /* MCU Configuration--------------------------------------------------------*/

  /* Reset of all peripherals, Initializes the Flash interface and the Systick. */
  HAL_Init();

  /* USER CODE BEGIN Init */
    Watchdog_Start();   /* до всего остального: зависнуть может уже старт */
    CoreDebug->DEMCR |= CoreDebug_DEMCR_TRCENA_Msk; // разрешить трассировочный блок ядра
    DWT->CYCCNT = 0;                                 // сбросить счётчик тактов
    DWT->CTRL |= DWT_CTRL_CYCCNTENA_Msk;             // запустить счётчик тактов
  /* USER CODE END Init */

  /* Configure the system clock */
  SystemClock_Config();

  /* USER CODE BEGIN SysInit */
  /* Причина сброса и код сбоя — до MX_RTC_Init: смена источника тактирования
   * RTC (A5) сбрасывает backup-домен, и код из DR1 пропал бы. */
  reset_cause = Policy_ResetCause(RCC->CSR, RTC->BKP1R);
  /* USER CODE END SysInit */

  /* Initialize all configured peripherals */
  MX_GPIO_Init();
  MX_FATFS_Init();
  /* MX_USB_DEVICE_Init() отсюда убран (A3): USB стартует цикл удержания после
   * первой записи. В FieldSensor.ioc для него стоит выставить «Do not
   * generate function call», иначе CubeMX вернёт вызов при перегенерации. */
  MX_I2C1_Init();
  MX_SPI1_Init();
  MX_RTC_Init();
  // LSE НЕ запустился → RTC идёт от LSI → метки времени уплывают. Плата при
  // этом живёт и пишет (A5), а флаг уходит в каждую строку CSV.
  lse_ok = RTC_LseOk();
  MX_ADC1_Init();
  /* USER CODE BEGIN 2 */

  /* Кнопочного жеста «стереть архив» больше нет (A2/C4). Он срабатывал от
   * зажатой KEY при любом сбросе, кроме программного: при замене банки,
   * просадке, перезапуске сторожем — а залитая водой кнопка «зажата» всегда.
   * Архив вручную не стирается вообще: это кольцевой журнал (П5), старые
   * записи вытесняются сами, а том USB только для чтения. Начать архив с
   * нуля владелец может read_data.sh --wipe. KEY при старте ничего не значит. */
  __HAL_RCC_CLEAR_RESET_FLAGS();

  /* Счётчик стартов с последней подачи питания (DR2) и сброс кода сбоя (DR1),
   * чтобы следующий старт не унаследовал чужую причину. Backup-домен сидит
   * на VDD (VBAT не отдельный), так что подача питания обнуляет и счётчик —
   * это и нужно: он считает именно тихие перезагрузки. */
  HAL_PWR_EnableBkUpAccess();
  boot_count = HAL_RTCEx_BKUPRead(&hrtc, RTC_BKP_DR2) + 1U;
  HAL_RTCEx_BKUPWrite(&hrtc, RTC_BKP_DR2, boot_count);
  HAL_RTCEx_BKUPWrite(&hrtc, RTC_BKP_DR1, 0U);
  Watchdog_Kick();   /* запуск LSE в MX_RTC_Init мог занять до 10 с */

  // Включаем питание датчиков (LOW)
  HAL_GPIO_WritePin(SENSOR_PWR_GPIO_Port, SENSOR_PWR_Pin, GPIO_PIN_RESET);

  // === 0) Часы ===
  // Календарь живёт в backup-домене и переживает сброс, поэтому проверки
  // "не инициализирован" мало: после обычного ресета время идёт дальше, а вот
  // новая прошивка должна переставить его на своё время сборки.
  uint8_t time_sync = Time_SyncToBuildIfNeeded();

  /* Флеш занята основным потоком с этого места и до конца первой записи
   * в цикле (первый проход идёт без сна, так что это пара секунд, а при
   * импорте старого архива — до минуты). USB до этого не поднимается вовсе
   * (A3); флаг — вторая линия обороны на случай, если порядок когда-нибудь
   * снова поменяют. Флаг снимает блок записи. */
  SPI_Flash_SetBusy(1);

  // 1) Инициализация SPI флеш
  SPI_Flash_Init();

  /* 2) Журнал. Файловой системы на флеш больше нет: архив — кольцевой
   *    журнал (log_ring.h), он не форматируется и не заполняется. На первом
   *    старте после прошивки с FAT-томом старый архив (data.txt, data_N.txt)
   *    переносится в журнал как есть — это запись, поэтому только при
   *    достаточном питании (то же правило, что для замеров). Без питания
   *    импорт ждёт: журнал не открыт, цикл пробует снова каждый раз. */
  Battery_Data bat_boot;
  Battery_Read(&bat_boot);
  uint8_t boot_power_ok = Storage_MayWrite(bat_boot.valid, bat_boot.low, bat_boot.vdd);
  fs_ok = Archive_Open(boot_power_ok);

  /* Можно ли верить часам (A6). Календарь живёт в backup-домене, а тот на
   * этой плате сидит на VDD: замена банки возвращает часы на время сборки.
   * Отличить это от свежей прошивки помогает только архив — правило в
   * Policy_TimeTrusted; итог — в time_ok каждой строки и в DR3 до следующего
   * сброса. Пустой журнал прочитан — противоречить нечему. */
  {
      char last_ts[STORAGE_TS_LEN + 1] = "";
      char build_ts[STORAGE_TS_LEN + 1];
      uint8_t archive_read = fs_ok && Archive_LastTimestamp(last_ts);
      Time_BuildTimestamp(build_ts, sizeof(build_ts));
      time_ok = Policy_TimeTrusted(time_sync, Time_GetTrusted(), archive_read, last_ts, build_ts);
      Time_SetTrusted(time_ok);
  }

  /* Датчики поднимает и гасит сам цикл, здесь они не нужны. Явно обесточиваем
   * их перед первым сном: MX_GPIO_Init() оставляет питание включённым, и без
   * этой строки первый интервал сна (в поле — целый час) проходил бы с
   * запитанными AHT20, DS18B20 и датчиком почвы. */
  HAL_GPIO_WritePin(SENSOR_PWR_GPIO_Port, SENSOR_PWR_Pin, GPIO_PIN_SET);

  /* USER CODE END 2 */

  /* Infinite loop */
  /* USER CODE BEGIN WHILE */
  /* Первый проход замеряет сразу, без сна. Иначе после включения архив
   * оставался бы пустым весь первый интервал — в поле это час, в течение
   * которого исправный прибор неотличим от мёртвого. Одна строка при
   * установке стоит копейки и сразу подтверждает, что прибор жив. */
  uint8_t first_pass = 1;
  /* Расписание начинается здесь, а не с нуля тика: до первого замера плата
   * успевает смонтировать и, может быть, импортировать старый архив — это
   * секунды, и приписывать их интервалу незачем. Первый проход меряет сразу,
   * не засыпая, и тут же перезапустит расписание своим замером; затравка
   * нужна для случая, когда он кончится пропуском (вставленный кабель). */
  Schedule_Restart();

  while (1)
  {
	  if (!first_pass)
	      SleepUntilNextSample();
	  first_pass = 0;
	  Watchdog_Kick();

	  /* Вокруг USB-сессии не меряем (Policy_SkipMeasureForUsb): к телефону
	   * прибор подключают вынутым из земли. Разбудила вставка кабеля —
	   * woke_by_vbus не сбрасываем, его заберёт цикл удержания и поднимет USB;
	   * хост держит сессию и подошёл час — просто ждём дальше на шине. Там же
	   * считаются интервалы подряд, кончившиеся без записи, и там же стоит
	   * потолок на пропуски — по этому счёту цикл удержания гасит
	   * затянувшуюся сессию (Р1). Признак сессии — usb_started, тот же, что
	   * решает судьбу записи ниже: по dev_state == CONFIGURED пропуск
	   * «засчитывался» в SUSPENDED как состоявшийся замер, а строка при этом
	   * уходила в ОЗУ. */
	  if (Policy_SkipMeasureForUsb(&usb_policy, woke_by_vbus, woke_by_button,
	                               usb_started, USB_SESSION_MAX_SKIPS))
	      continue;

	  /* Замер начинается — расписание с нуля (Schedule_Restart). Здесь, а не
	   * после записи, чтобы время самого замера легло ВНУТРЬ интервала; и
	   * только после решения о пропуске: пропущенный интервал расписание не
	   * перезапускает, иначе пропуск выдавал бы себе полный час заново — тот
	   * самый дефект. */
	  Schedule_Restart();

	  /* Карантин питания датчиков (дизайн v2, ТЗ п. 16). Залитый разъём или
	   * пробитый датчик каждый час сажает ключ и LDO в ограничение тока и
	   * съедает бюджет за недели, а данных всё равно нет. Три цикла подряд без
	   * воздуха И без почвы — признак отказа рельсы, а не одного датчика;
	   * тогда питание не подаётся SENSOR_QUARANTINE_HOURS часов, а потом —
	   * одна попытка. Правило — Policy_QuarantineUpdate. Батарея и запись
	   * строки идут как обычно: архив показывает, что прибор жив. */
	  uint8_t  sens_powered = Policy_SensorsPowerAllowed(&sens_quarantine);
	  uint32_t sens_off = sens_powered ? 0U : sens_quarantine.skip_left;

	  AHT20_Data aht = { NAN, NAN };
	  HAL_StatusTypeDef aht_init_st = HAL_ERROR, aht_read_st = HAL_ERROR;
	  float   soil_temp = NAN, soil_hum = NAN, soil_raw = NAN;
	  uint8_t ds_err = DS_ERR_NOT_POLLED;
	  uint8_t air_xchk = SENSOR_XCHK_NO_AHT;
	  i2c_rec = 0;

	  if (sens_powered)
	  {
	      /* --- включаем датчики (LOW) --- */
	      HAL_GPIO_WritePin(SENSOR_PWR_GPIO_Port, SENSOR_PWR_Pin, GPIO_PIN_RESET);
	      /* Полная пауза на выход датчиков в режим, а не символические 50 мс.
	       * Константа SENSOR_POWERUP_DELAY_MS была заведена ровно под это, но в коде
	       * не использовалась, и AHT20 опрашивался слишком рано: адрес он
	       * подтверждает почти сразу, а на самокалибровку ему нужно заметно больше,
	       * и AHT20_Init не укладывался в свой бюджет попыток. За двое суток
	       * боевого прогона так потерялись две трети замеров воздуха.
	       * Цена паузы: 450 мс раз в час при токе активной фазы порядка 20 мА —
	       * это около 2.5 мкА среднего против бюджета в 377 мкА. */
	      HAL_Delay(SENSOR_POWERUP_DELAY_MS);

	      /* Датчик на шине I2C1 только что был полностью обесточен. Жёстко сбрасываем саму
	       * периферию I2C1 через RCC перед повторным использованием — иначе она может остаться
	       * в залипшем BUSY-состоянии после неудачной транзакции прошлого цикла и больше
	       * никогда не восстановиться сама (обычный DeInit/Init этого не гарантирует). */
	      HAL_I2C_DeInit(&hi2c1);
	      __HAL_RCC_I2C1_FORCE_RESET();
	      __HAL_RCC_I2C1_RELEASE_RESET();

	      /* Сброс периферии не отпускает ведомого, который держит SDA (B6), —
	       * шину освобождаем тактами SCL. Не помогло — ведомый завис глубже:
	       * снимаем питание датчиков ещё раз и повторяем, один раз. Выводы шины
	       * на это время — в вход, чтобы не питать модуль через подтяжки. */
	      i2c_rec = I2C1_BusRecover();
	      if (i2c_rec == I2C_BUS_STUCK)
	      {
	          HAL_GPIO_DeInit(GPIOB, GPIO_PIN_8 | GPIO_PIN_9);
	          HAL_GPIO_WritePin(SENSOR_PWR_GPIO_Port, SENSOR_PWR_Pin, GPIO_PIN_SET);
	          HAL_Delay(I2C_POWER_CYCLE_MS);
	          HAL_GPIO_WritePin(SENSOR_PWR_GPIO_Port, SENSOR_PWR_Pin, GPIO_PIN_RESET);
	          HAL_Delay(SENSOR_POWERUP_DELAY_MS);
	          i2c_rec = (I2C1_BusRecover() == I2C_BUS_STUCK) ? I2C_REC_DEAD : I2C_REC_POWER;
	      }
	      MX_I2C1_Init();

	      /* Ждём, пока AHT20 реально начнёт подтверждать свой адрес на шине, вместо
	       * слепой фиксированной паузы: время выхода на режим зависит от температуры
	       * и от того, насколько успел разрядиться его питающий конденсатор. */
	      for (uint16_t i = 0; i < 80; i++)   /* до ~2 секунд ожидания */
	      {
	          if (HAL_I2C_IsDeviceReady(&hi2c1, AHT20_ADDR, 1, 10) == HAL_OK)
	              break;
	          HAL_Delay(25);
	      }

	      /* AHT20 теряет калибровку при каждом отключении питания — обязательно
	       * заново инициализировать после каждого включения PA0, иначе показания мусорные. */
	      aht_init_st = AHT20_Init(&hi2c1);

	      /* Если датчик не откалибровался, читать его бессмысленно: транзакции
	       * пройдут успешно, а в кадре будут нули. Раньше чтение выполнялось
	       * независимо от исхода инициализации, и такой кадр однажды разобрался
	       * в -50.00 °C и ушёл в архив как настоящее измерение. */
	      aht_read_st = (aht_init_st == HAL_OK)
	                  ? AHT20_ReadData(&hi2c1, &aht)
	                  : HAL_ERROR;
	      if (aht_read_st != HAL_OK)
	      {
	          /* Не нули, а NAN. Ноль градусов в теплице — совершенно правдоподобное
	           * значение, и отказ датчика выглядел в архиве как настоящий заморозок;
	           * ровно на этом однажды уже обожглись с DS18B20. NAN спутать не с чем,
	           * и почва рядом помечается им же. */
	          aht.temperature = NAN;
	          aht.humidity    = NAN;
	      }

	      /* Сверка воздуха по BMP280 на том же модуле — после AHT20, чтобы
	       * отказ BMP280 (даже повисшая на нём шина) не стоил замера AHT20:
	       * шину следующего цикла освободит I2C1_BusRecover. AHT20 при
	       * расхождении не заменяется на NAN — строка только помечается. */
	      float bmp_t = NAN;
	      if (BMP280_Init(&hi2c1) == HAL_OK)
	          (void)BMP280_ReadTemperature(&hi2c1, &bmp_t);
	      air_xchk = Sensor_AirCrossCheck(aht.temperature, bmp_t);

	      if (!DS18B20_ReadTemp(GPIOA, GPIO_PIN_8, &soil_temp))
	          soil_temp = NAN; // датчик не ответил или CRC не сошёлся
	      ds_err = (uint8_t)DS18B20_LastError();   /* почему 1-Wire не ответил */

	      /* Напряжение — один раз: из него и влажность, и сырой отсчёт для CSV. */
	      float soil_v = Soil_ReadVoltage();
	      soil_hum = isnan(soil_v) ? NAN : Soil_VoltageToMoisture(soil_v);
	      soil_raw = isnan(soil_v) ? NAN : roundf(soil_v * 4095.0f / SOIL_ADC_VREF);
	  }

	  Policy_QuarantineUpdate(&sens_quarantine, sens_powered,
	                          (aht_read_st != HAL_OK) && isnan(soil_temp),
	                          SENSOR_QUARANTINE_CYCLES);

	  Battery_Data bat;
	  Battery_Read(&bat);
	  uint32_t bat_adc = 0;
	  float    bat_raw = ADC_ReadChannel(BAT_RAW_CHANNEL, BAT_RAW_SAMPLETIME, &bat_adc)
	                   ? (float)bat_adc : NAN;
	  Watchdog_Kick();   /* опрос датчиков — до нескольких секунд; запись впереди */

	  char ts[32];
	  Time_GetTimestamp(ts, sizeof(ts));

	  /* На просевшем питании не пишем вовсе: стирание сектора — пик тока, и
	   * программирование вне паспорта по VDD «проходит» без ошибок шины.
	   * Правило — в storage_policy.h. Пропуски считаем отдельно от
	   * write_fails: это не отказ флеш; в CSV — колонка lowpower_skips. */
	  static volatile uint32_t lowpower_skips = 0;
	  uint8_t power_ok = Storage_MayWrite(bat.valid, bat.low, bat.vdd);

	  /* Замер — в двоичную запись журнала; строка CSV из неё собирается при
	   * чтении (LogRecord_FormatCsv) — тем же форматом, что раньше. Счётчики
	   * — на момент замера, как и прежде в строке. */
	  LogMeas meas;
	  memcpy(meas.ts, ts, sizeof(meas.ts) - 1U);
	  meas.ts[sizeof(meas.ts) - 1U] = '\0';
	  meas.air_temp       = aht.temperature;
	  meas.air_hum        = aht.humidity;
	  meas.soil_temp      = soil_temp;
	  meas.soil_hum       = soil_hum;
	  meas.bat_valid      = bat.valid;
	  meas.bat_low        = bat.low;
	  meas.bat_percent    = bat.percent;
	  meas.bat_volts      = bat.volts;
	  meas.vdd            = bat.vdd;
	  meas.lse_ok         = lse_ok;
	  meas.time_ok        = time_ok;
	  meas.aht_init_st    = (int)aht_init_st;
	  meas.aht_read_st    = (int)aht_read_st;
	  meas.ds_err         = ds_err;
	  meas.air_xchk       = air_xchk;
	  meas.i2c_rec        = i2c_rec;
	  meas.sens_off       = sens_off;
	  meas.write_fails    = write_fails;
	  meas.lowpower_skips = lowpower_skips;
	  meas.reset_cause    = reset_cause;
	  meas.boot_count     = boot_count;
	  meas.soil_raw       = soil_raw;
	  meas.bat_raw        = bat_raw;
	  LogRecord rec;
	  LogRecord_PackMeas(&rec, &meas);

	  /* Легла ли строка этого замера на флеш. Очередь в ОЗУ, пропуск по
	   * просевшему питанию и отказ записи записью не считаются — на этом
	   * стоит счёт интервалов без архива (Policy_MeasureStored). */
	  uint8_t stored = 0;

	  if (usb_started)
	  {
	      /* Стек поднят: флеш отдана хосту, журнал её не трогает (A3), и
	       * запись ждёт в RAM.
	       * Сессионным путём сюда больше не попадают. При
	       * USB_SESSION_MAX_SKIPS == 1 замер во время сессии либо
	       * пропускается (первый интервал), либо приходит уже после того, как
	       * уступка погасила стек (Policy_SessionYieldsToMeasure), то есть
	       * usb_started к этому моменту ноль. Ветка остаётся как страховка на
	       * случай поднятого потолка пропусков или нового пути, где стек
	       * остался поднятым, — и очередь по-прежнему нужна сама по себе: её
	       * наполняет отказ записи (Storage_RequeueFailed ниже), а
	       * опорожняет первый же удачный цикл.
	       * Очередь полна — замер теряется, и это видно по write_fails. */
	      if (log_pending_n < LOG_PENDING_MAX)
	          log_pending[log_pending_n++] = rec;
	      else
	          write_fails++;
	  }
	  else if (!power_ok)
	  {
	      lowpower_skips++;
	  }
	  else
	  {
	      /* Флеш наша до конца блока: MSC в это время отвечает хосту «не готов». */
	      SPI_Flash_SetBusy(1);

	      /* Журнал не открыт (сбой при старте, отказ записи, импорт ждал
	       * питания) — пробуем снова, но не чаще раза за цикл. Между
	       * попытками устройство спит, поэтому даже неустранимая поломка не
	       * сажает батарею. */
	      if (!fs_ok)
	          fs_ok = Archive_Open(1);

	      /* Сначала то, что ждало в очереди, — по порядку. Неудача (журнал не
	       * открылся, отказ флеш) оставляет хвост очереди на следующий цикл;
	       * запись с непрочитанной сверкой не повторяется — то же правило,
	       * что для нового замера (T6). */
	      uint8_t done = 0;
	      while (done < log_pending_n)
	      {
	          uint8_t q_open = fs_ok;
	          if (Archive_Append(&log_pending[done]))
	          {
	              done++;
	              continue;
	          }
	          if (!Storage_RequeueFailed(q_open, log_ring.mounted))
	              done++;
	          break;
	      }
	      if (done > 0U)
	      {
	          memmove(&log_pending[0], &log_pending[done],
	                  (uint32_t)(log_pending_n - done) * sizeof(LogRecord));
	          log_pending_n = (uint8_t)(log_pending_n - done);
	      }

	      /* Очередь не ушла — новый замер встаёт за ней, чтобы не нарушить
	       * порядок; иначе пишется сразу. Не записался — тоже в очередь,
	       * следующий цикл переоткроет журнал и допишет (T6); кроме случая,
	       * когда не прочиталась сверка: что легло в слот, неизвестно. */
	      uint8_t was_open = fs_ok;
	      if (log_pending_n == 0U)
	      {
	          if (Archive_Append(&rec))
	              stored = 1;
	          else if (Storage_RequeueFailed(was_open, log_ring.mounted) &&
	                   log_pending_n < LOG_PENDING_MAX)
	              log_pending[log_pending_n++] = rec;
	      }
	      else if (log_pending_n < LOG_PENDING_MAX)
	          log_pending[log_pending_n++] = rec;
	      else
	          write_fails++;
	  }

	  /* Счёт интервалов подряд без архива обнуляет только строка, дошедшая до
	   * флеш: по нему цикл удержания решает, пора ли гасить сессию, и «замер
	   * был, но лёг в ОЗУ» этот счёт обнулять не вправе. */
	  Policy_MeasureStored(&usb_policy, stored);

	  /* Здесь же снимается и флаг, выставленный при старте (см. блок журнала). */
	  SPI_Flash_SetBusy(0);

	  /* --- выключаем датчики перед сном (HIGH) --- */
	  HAL_GPIO_WritePin(SENSOR_PWR_GPIO_Port, SENSOR_PWR_Pin, GPIO_PIN_SET);
	}
    /* USER CODE END WHILE */

  }

void SystemClock_Config(void)
{
  RCC_OscInitTypeDef RCC_OscInitStruct = {0};
  RCC_ClkInitTypeDef RCC_ClkInitStruct = {0};

  /** Configure the main internal regulator output voltage
  */
  __HAL_RCC_PWR_CLK_ENABLE();
  __HAL_PWR_VOLTAGESCALING_CONFIG(PWR_REGULATOR_VOLTAGE_SCALE2);

  /** Initializes the RCC Oscillators according to the specified parameters
  * in the RCC_OscInitTypeDef structure.
  */
  /* LSE отсюда убран (A5): его запускает MX_RTC_Init один раз, с откатом на
   * LSI. Здесь его отказ уводил в Error_Handler — цикл перезагрузок без
   * единой строки в архиве. CubeMX при перегенерации вернёт LSE сюда —
   * после перегенерации эту правку повторить. */
  RCC_OscInitStruct.OscillatorType = RCC_OSCILLATORTYPE_HSI;
  RCC_OscInitStruct.HSIState = RCC_HSI_ON;
  RCC_OscInitStruct.HSICalibrationValue = RCC_HSICALIBRATION_DEFAULT;
  RCC_OscInitStruct.PLL.PLLState = RCC_PLL_ON;
  RCC_OscInitStruct.PLL.PLLSource = RCC_PLLSOURCE_HSI;
  RCC_OscInitStruct.PLL.PLLM = 16;
  RCC_OscInitStruct.PLL.PLLN = 192;
  RCC_OscInitStruct.PLL.PLLP = RCC_PLLP_DIV2;
  RCC_OscInitStruct.PLL.PLLQ = 4;
  if (HAL_RCC_OscConfig(&RCC_OscInitStruct) != HAL_OK)
  {
    Error_Handler();
  }

  /** Initializes the CPU, AHB and APB buses clocks
  */
  RCC_ClkInitStruct.ClockType = RCC_CLOCKTYPE_HCLK|RCC_CLOCKTYPE_SYSCLK
                              |RCC_CLOCKTYPE_PCLK1|RCC_CLOCKTYPE_PCLK2;
  RCC_ClkInitStruct.SYSCLKSource = RCC_SYSCLKSOURCE_HSI;
  RCC_ClkInitStruct.AHBCLKDivider = RCC_SYSCLK_DIV1;
  RCC_ClkInitStruct.APB1CLKDivider = RCC_HCLK_DIV1;
  RCC_ClkInitStruct.APB2CLKDivider = RCC_HCLK_DIV1;

  if (HAL_RCC_ClockConfig(&RCC_ClkInitStruct, FLASH_LATENCY_0) != HAL_OK)
  {
    Error_Handler();
  }
}

/* USER CODE BEGIN 4 */

/**
  * @brief  Колбэк EXTI: нажата кнопка KEY (PA0).
  *         Само прерывание и будит МК из STOP — здесь только помечаем источник,
  *         чтобы основной цикл понимал, проснулись мы по таймеру или по кнопке.
  */
void HAL_GPIO_EXTI_Callback(uint16_t GPIO_Pin)
{
    if (GPIO_Pin == WAKE_BTN_Pin)
    {
        woke_by_button = 1;
    }
    else if (GPIO_Pin == VBUS_Pin)
    {
        /* Кабель вставили: даже если прошлый VBUS признан зарядкой, у этого
         * хоста свой шанс перечислить плату (Policy_UsbKeepsAwake). */
        woke_by_vbus = 1;
    }
}

/* USER CODE END 4 */

void Error_Handler(void)
{
  /* USER CODE BEGIN Error_Handler_Debug */
  /* Заготовка CubeMX здесь была `__disable_irq(); while(1){}` — вечный цикл на
   * полной частоте. Для прибора, который должен год простоять в теплице без
   * присмотра, это самый дорогой вид отказа: наружу он ничего не сообщает,
   * архив просто перестаёт расти, банка садится за считанные дни на ~8 мА, и
   * заказчик узнаёт об этом, только приехав за данными через месяц.
   *
   * Раньше сюда вёл отказ кварца 32.768 кГц на любом пробуждении; теперь он
   * не фатален (A5, rtc.c), но остаются отказы инициализации I2C, SPI, RTC,
   * ADC и USB.
   *
   * Поэтому вместо цикла — перезапуск сторожевым таймером, причём ожидание
   * сброса проходит в STOP, а не на полной частоте. IWDG тактируется от LSI,
   * то есть не зависит от того, что именно отказало в тракте HSE/LSE/PLL, и
   * продолжает считать в STOP. Максимальный период при делителе 256 и
   * LSI 32 кГц — около 32 с: неустранимый отказ превращается в редкий цикл
   * "сброс — попытка — сон" за микроамперы вместо непрерывных миллиампер,
   * а разовый сбой просто вылечивается перезапуском.
   *
   * Регистры трогаем напрямую, без HAL_IWDG_Init: сюда мы попадаем из
   * поломанного состояния, и полагаться на инициализированные дескрипторы
   * нельзя. Отдельного тактирования у IWDG нет, он доступен всегда. */
  __disable_irq();

  /* Все прерывания — и в NVIC: при запрещённых прерываниях WFI всё равно
   * просыпается от любого ожидающего, а таймер куска сна (A4) или VBUS
   * держали бы ожидающее вечно — и STOP ниже превратился бы в горячий цикл
   * до самого сброса. Запрещённое в NVIC прерывание WFI не будит. */
  for (uint32_t i = 0U; i < (sizeof(NVIC->ICER) / sizeof(NVIC->ICER[0])); i++)
  {
    NVIC->ICER[i] = 0xFFFFFFFFU;
    NVIC->ICPR[i] = 0xFFFFFFFFU;
  }
  /* SysTick — исключение ядра, не NVIC: его ожидающее будило бы WFI так же. */
  SysTick->CTRL = 0U;
  SCB->ICSR = SCB_ICSR_PENDSTCLR_Msk;

  /* Причина — в backup-регистр: после перезапуска она уйдёт в reset_cause
   * каждой строки, и цикл «сбой — перезапуск» будет виден в архиве. */
  RCC->APB1ENR |= RCC_APB1ENR_PWREN;
  PWR->CR |= PWR_CR_DBP;
  RTC->BKP1R = POLICY_FAULT_MAGIC | POLICY_FAULT_ERROR;

  /* Сторож обычно уже запущен (Watchdog_Start); повторный пуск безвреден и
   * нужен, если сюда попали раньше него. */
  IWDG->KR  = 0x0000CCCCU;   /* пуск */
  IWDG->KR  = 0x00005555U;   /* разрешить запись PR/RLR */
  IWDG->PR  = 0x06U;         /* делитель 256 */
  IWDG->RLR = 0x0FFFU;       /* максимальная перезагрузка */

  /* Ждём готовности регистров ограниченным счётчиком, а не по HAL_GetTick():
   * тик здесь может быть выключен, и ожидание по нему не кончилось бы никогда —
   * ровно та ошибка, из-за которой мы тут и оказались. */
  for (volatile uint32_t i = 0U; i < 100000U && (IWDG->SR != 0U); i++)
  {
  }

  IWDG->KR = 0x0000AAAAU;    /* перезагрузить счётчик */

  /* Сюда приходят из инициализации ADC, I2C, SPI, RTC и USB, то есть уже после
   * SystemClock_Config, где тактирование PWR включается первой же строкой. Но
   * зависеть от этого в аварийном обработчике не хочется: без тактирования PWR
   * вход в STOP молча не сработает, и вместо экономного ожидания сброса мы
   * получили бы тот самый горячий цикл, от которого уходим. Одна строка снимает
   * вопрос. */
  __HAL_RCC_PWR_CLK_ENABLE();

  /* Возвращаться из STOP сюда мы не рассчитываем — раньше придёт сброс. Но если
   * какое-то прерывание всё же поднимет ядро, снова уходим в STOP, а не
   * начинаем греться. */
  while (1)
  {
    HAL_PWR_EnterSTOPMode(PWR_LOWPOWERREGULATOR_ON, PWR_STOPENTRY_WFI);
  }
  /* USER CODE END Error_Handler_Debug */
}
